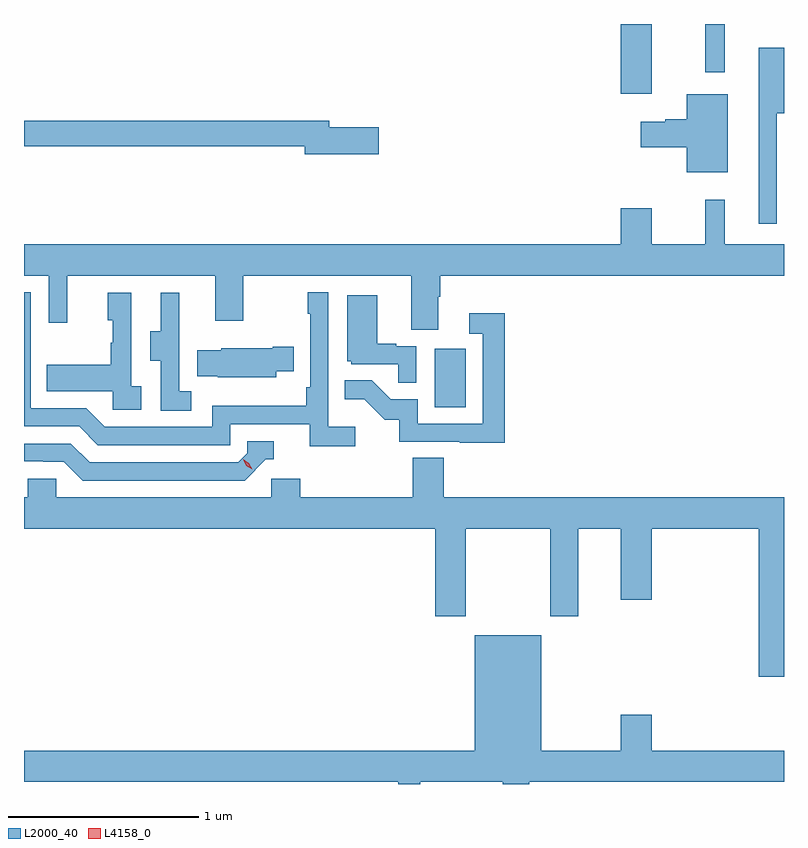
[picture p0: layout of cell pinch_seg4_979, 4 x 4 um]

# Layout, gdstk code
import gdstk
lib = gdstk.Library(unit=1e-6, precision=1e-09)
def R(c, l, rs):  # rectangles x0, y0, x1, y1
    for r in rs: c.add(gdstk.rectangle(r[:2], r[2:], *l))
def P(c, l, *ps):  # polygons
    for p in ps: c.add(gdstk.Polygon(p, *l))
L2000_40 = (2000, 40)
L4158_0 = (4158, 0)

pinch_seg4_979 = lib.new_cell('pinch_seg4_979')
R(pinch_seg4_979, L2000_40, [(847.346,778.812,847.51,779.119), (848.324,780.462,848.488,780.828), (848.77,780.573,848.872,780.828)])
P(pinch_seg4_979, L2000_40, [(849.147,780.359),(849.184,780.359),(849.184,780.703),(849.05,780.703),(849.05,779.778),(849.147,779.778)],
  [(848.887,780.457),(848.672,780.457),(848.672,780.326),(848.559,780.326),(848.559,780.313),(848.43,780.313),(848.43,780.179),(848.672,780.179),(848.672,780.047),(848.887,780.047)],
  [(847.051,780.284),(846.79,780.284),(846.79,780.32),(845.184,780.32),(845.184,780.184),(846.662,780.184),(846.662,780.142),(847.051,780.142)],
  [(847.363,779.392),(847.376,779.392),(847.376,779.504),(849.184,779.504),(849.184,779.668),(848.873,779.668),(848.873,779.902),(848.77,779.902),(848.77,779.668),(848.488,779.668),(848.488,779.857),(848.324,779.857),(848.324,779.668),(845.184,779.668),(845.184,779.504),(845.313,779.504),(845.313,779.256),(845.411,779.256),(845.411,779.504),(846.191,779.504),(846.191,779.265),(846.339,779.265),(846.339,779.504),(847.223,779.504),(847.223,779.218),(847.363,779.218)],
  [(846.928,778.708),(846.786,778.708),(846.786,779.416),(846.678,779.416),(846.678,779.303),(846.69,779.303),(846.69,778.915),(846.67,778.915),(846.67,778.819),(846.174,778.819),(846.174,778.707),(845.61,778.707),(845.511,778.806),(845.22,778.806),(845.22,779.415),(845.184,779.415),(845.184,778.71),(845.474,778.71),(845.573,778.611),(846.27,778.611),(846.27,778.722),(846.689,778.722),(846.689,778.606),(846.928,778.606)],
  [(846.064,778.895),(846,778.895),(846,779.199),(846.002,779.199),(846.002,779.413),(845.903,779.413),(845.903,779.211),(845.849,779.211),(845.849,779.056),(845.904,779.056),(845.904,778.792),(846.064,778.792)],
  [(845.8,778.922),(845.748,778.922),(845.748,779.413),(845.624,779.413),(845.624,779.268),(845.65,779.268),(845.65,779.15),(845.64,779.15),(845.64,779.035),(845.305,779.035),(845.305,778.895),(845.652,778.895),(845.652,778.797),(845.8,778.797)],
  [(847.248,779.133),(847.142,779.133),(847.142,779.146),(847.042,779.146),(847.042,779.401),(846.884,779.401),(846.884,779.052),(846.906,779.052),(846.906,779.037),(847.153,779.037),(847.153,778.939),(847.248,778.939)],
  [(847.715,779.305),(847.527,779.305),(847.527,779.199),(847.599,779.199),(847.599,778.725),(847.257,778.725),(847.257,778.854),(847.113,778.854),(847.015,778.952),(846.871,778.952),(846.871,778.853),(846.975,778.853),(847.082,778.746),(847.159,778.746),(847.159,778.629),(847.477,778.629),(847.477,778.624),(847.715,778.624)],
  [(846.511,779),(846.605,779),(846.605,779.13),(846.494,779.13),(846.494,779.122),(846.222,779.122),(846.222,779.11),(846.097,779.11),(846.097,778.973),(846.205,778.973),(846.205,778.97),(846.511,778.97)],
  [(846.456,778.536),(846.499,778.536),(846.499,778.632),(846.36,778.632),(846.36,778.569),(846.312,778.521),(845.529,778.521),(845.43,778.62),(845.184,778.62),(845.184,778.527),(845.286,778.527),(845.286,778.524),(845.393,778.524),(845.492,778.425),(846.345,778.425)],
  [(849.184,778.336),(847.394,778.336),(847.394,778.544),(847.229,778.544),(847.229,778.336),(846.638,778.336),(846.638,778.434),(846.486,778.434),(846.486,778.336),(845.355,778.336),(845.355,778.434),(845.205,778.434),(845.205,778.336),(845.184,778.336),(845.184,778.172),(847.349,778.172),(847.349,777.711),(847.509,777.711),(847.509,778.172),(847.954,778.172),(847.954,777.711),(848.101,777.711),(848.101,778.172),(848.324,778.172),(848.324,777.798),(848.488,777.798),(848.488,778.172),(849.05,778.172),(849.05,777.393),(849.184,777.393)],
  [(847.269,776.84),(847.703,776.84),(847.703,776.828),(847.843,776.828),(847.843,776.84),(849.184,776.84),(849.184,777.004),(848.488,777.004),(848.488,777.193),(848.324,777.193),(848.324,777.004),(847.906,777.004),(847.906,777.61),(847.556,777.61),(847.556,777.004),(845.184,777.004),(845.184,776.84),(847.153,776.84),(847.153,776.828),(847.269,776.828)])
P(pinch_seg4_979, L4158_0, [(846.384,778.484),(846.353,778.503),(846.337,778.536),(846.337,778.536),(846.337,778.536),(846.368,778.516),(846.384,778.484),(846.384,778.484)])

lib.write_gds('pinch_seg4_979.gds')
